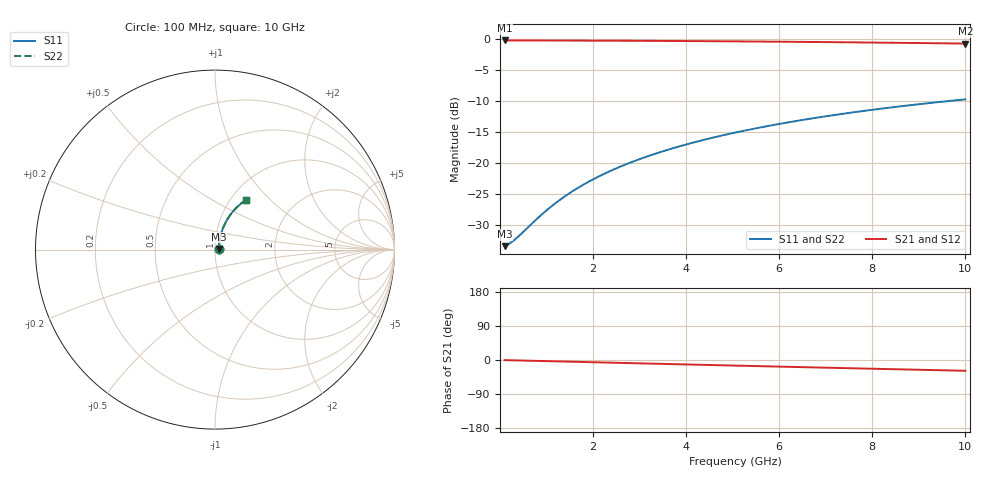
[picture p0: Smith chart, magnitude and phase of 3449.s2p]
# Hz S RI R 50.00
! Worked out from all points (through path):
!   100 points, 100 MHz to 10 GHz, reference 50 ohm
!   highest |S21| = -0.18 dB at 100 MHz (marker M1); lowest = -0.7 dB at 10 GHz (marker M2)
!   group delay of S21, straight-line fit = 7.91 ps
!   lowest |S11| = -33.4 dB at 100 MHz (marker M3), VSWR 1.04, Z = 52.1 + j0.358 ohm
!   |S11| at or under -10 dB: start of sweep to 9.607 GHz
!   |S22| runs from -33.4 to -9.7 dB; largest |S21 - S12| = 0
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1e8  0.021 0.00343  0.979 -0.00505  0.979 -0.00505  0.021 0.00343
2e8  0.0212 0.00686  0.9788 -0.0101  0.9788 -0.0101  0.0212 0.00686
3e8  0.0214 0.0103  0.9786 -0.0151  0.9786 -0.0151  0.0214 0.0103
4e8  0.0216 0.0137  0.9784 -0.0202  0.9784 -0.0202  0.0216 0.0137
9e8  0.023 0.0308  0.9768 -0.0453  0.9768 -0.0453  0.023 0.0308
1.2e9  0.0243 0.041  0.9755 -0.0604  0.9755 -0.0604  0.0243 0.041
1.5e9  0.0258 0.0511  0.9739 -0.0753  0.9739 -0.0753  0.0258 0.0511
1.8e9  0.0276 0.0612  0.9719 -0.0903  0.9719 -0.0903  0.0276 0.0612
2.1e9  0.0297 0.0712  0.9696 -0.1051  0.9696 -0.1051  0.0297 0.0712
2.5e9  0.033 0.0844  0.9661 -0.1248  0.9661 -0.1248  0.033 0.0844
2.9e9  0.0368 0.0975  0.962 -0.1443  0.962 -0.1443  0.0368 0.0975
3.4e9  0.0423 0.1135  0.9561 -0.1684  0.9561 -0.1684  0.0423 0.1135
3.8e9  0.0473 0.126  0.9508 -0.1874  0.9508 -0.1874  0.0473 0.126
4.2e9  0.0527 0.1383  0.9449 -0.2062  0.9449 -0.2062  0.0527 0.1383
4.6e9  0.0586 0.1503  0.9385 -0.2246  0.9385 -0.2246  0.0586 0.1503
5.1e9  0.0666 0.1649  0.9299 -0.2473  0.9299 -0.2473  0.0666 0.1649
5.9e9  0.0808 0.1872  0.9145 -0.2826  0.9145 -0.2826  0.0808 0.1872
6.7e9  0.0965 0.208  0.8975 -0.3165  0.8975 -0.3165  0.0965 0.208
7.5e9  0.1136 0.2274  0.8788 -0.3489  0.8788 -0.3489  0.1136 0.2274
8.4e9  0.1343 0.2472  0.8562 -0.3834  0.8562 -0.3834  0.1343 0.2472
9.2e9  0.1537 0.263  0.8349 -0.4124  0.8349 -0.4124  0.1537 0.263
1e10  0.174 0.2771  0.8125 -0.4396  0.8125 -0.4396  0.174 0.2771
